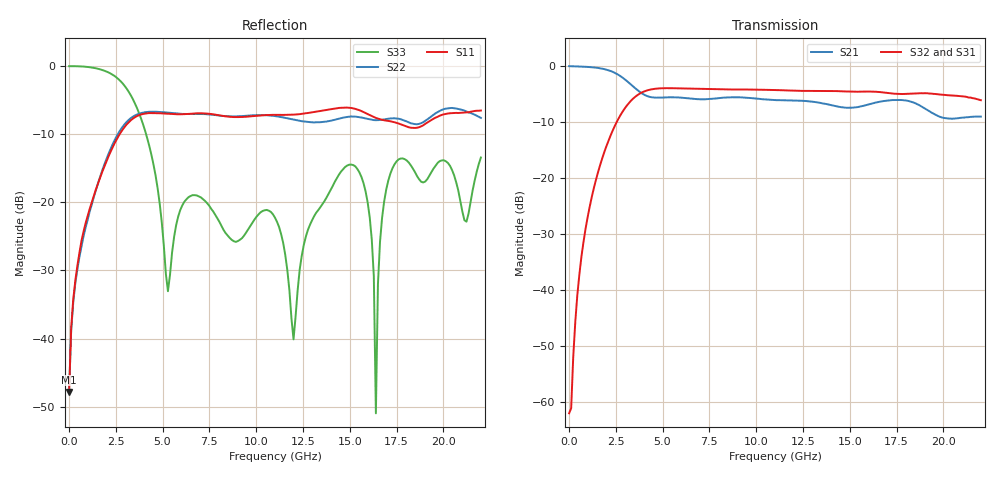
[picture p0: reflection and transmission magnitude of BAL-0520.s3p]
! MARKI MICROWAVE INC.
! Email:  info@markimicrowave.com  Phone:  408-778-4200
! Model Number:  BAL-0520  Date:  11/13
! Filename:		BAL-0520.S3P  Version: 1.0
! Description:  3-port S-parameter data for Balun BAL-0520
! Frequency Range: 	10 MHz to 22 GHz
! Port Configuration:	PORT 1: OUTPUT (0 DEGREE), PORT 2: OUTPUT (180 DEGREE), PORT 3: COMMON
! S3P File: Measurements: Mag<S11> Ang<S11> Mag<S12> Ang<S12> Mag<S13> Ang<S13>! row 1
!  Mag<S21> Ang<S21> Mag<S22> Ang<S22> Mag<S23> Ang<S23>! row 2
!  Mag<S31> Ang<S31> Mag<S32> Ang<S32> Mag<S33> Ang<S33>! row 3
# Hz S  dB  R 50
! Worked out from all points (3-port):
!   201 points, 10 MHz to 22 GHz, reference 50 ohm
!   strongest paths, dB at 10 MHz, 5.508 GHz, 11.01 GHz, 16.5 GHz, 22 GHz:
!     S32: -62.0, -4.0, -4.3, -4.6, -6.1
!     S31: -69.4, -3.9, -4.1, -4.7, -6.1
!     S21: 0.0, -5.6, -6.1, -6.4, -9.0
!   lowest |S11| = -47.8 dB at 10 MHz (marker M1), VSWR 1.01, Z = 50.2 + j0.36 ohm
!   |S11| at or under -10 dB: start of sweep to 2.707 GHz
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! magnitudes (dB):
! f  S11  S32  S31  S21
! 10 MHz  -47.8  -62.0  -69.4  0.0
! 779.6 MHz  -24.3  -31.4  -31.2  -0.1
! 2.759 GHz  -9.8  -8.7  -8.6  -1.8
! 5.288 GHz  -7.0  -4.0  -3.9  -5.6
! 11.01 GHz  -7.1  -4.3  -4.1  -6.1
! 11.99 GHz  -7.1  -4.4  -4.2  -6.1
! 15.51 GHz  -6.5  -4.6  -4.7  -7.3
! 16.39 GHz  -7.6  -4.6  -4.7  -6.5
! 17.27 GHz  -8.2  -4.9  -5.1  -6.1
! 22 GHz  -6.5  -6.1  -6.1  -9.0
